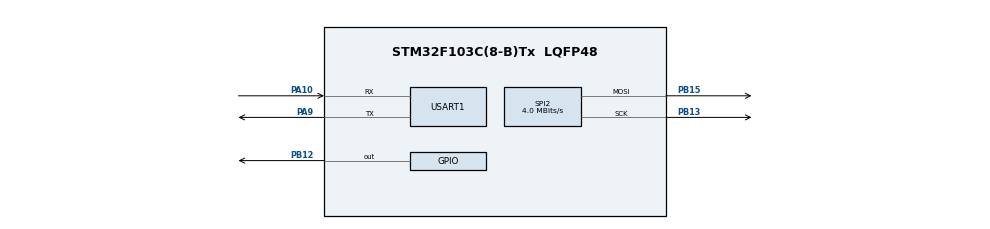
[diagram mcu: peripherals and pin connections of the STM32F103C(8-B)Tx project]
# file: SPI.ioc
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Dma.Request0=USART1_RX
Dma.USART1_RX.0.Direction=DMA_PERIPH_TO_MEMORY
Dma.USART1_RX.0.Instance=DMA1_Channel5
Dma.USART1_RX.0.MemDataAlignment=DMA_MDATAALIGN_BYTE
Dma.USART1_RX.0.MemInc=DMA_MINC_ENABLE
Dma.USART1_RX.0.Mode=DMA_NORMAL
Dma.USART1_RX.0.PeriphDataAlignment=DMA_PDATAALIGN_BYTE
Dma.USART1_RX.0.PeriphInc=DMA_PINC_DISABLE
Dma.USART1_RX.0.Priority=DMA_PRIORITY_LOW
Mcu.Family=STM32F1
Mcu.Name=STM32F103C(8-B)Tx
Mcu.Package=LQFP48
NVIC.DMA1_Channel5_IRQn=true\:0\:0\:false\:false\:true\:false\:true\:true
NVIC.PriorityGroup=NVIC_PRIORITYGROUP_4
NVIC.USART1_IRQn=true\:0\:0\:false\:false\:true\:true\:true\:true
PA10.Mode=Asynchronous
PA10.Signal=USART1_RX
PA9.Mode=Asynchronous
PA9.Signal=USART1_TX
PB12.Signal=GPIO_Output
PB13.Mode=TX_Only_Simplex_Unidirect_Master
PB13.Signal=SPI2_SCK
PB15.Mode=TX_Only_Simplex_Unidirect_Master
PB15.Signal=SPI2_MOSI
ProjectManager.HeapSize=0x200
ProjectManager.StackSize=0x400
ProjectManager.TargetToolchain=MDK-ARM V5.27
RCC.APB1Freq_Value=8000000
RCC.APB2Freq_Value=8000000
SPI2.CalculateBaudRate=4.0 MBits/s
SPI2.Direction=SPI_DIRECTION_2LINES
SPI2.Mode=SPI_MODE_MASTER
SPI2.VirtualType=VM_MASTER
USART1.VirtualMode=VM_ASYNC
VP_SYS_VS_ND.Mode=No_Debug
board=custom

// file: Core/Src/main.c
/* USER CODE BEGIN Header */
/**
  ******************************************************************************
  * @file           : main.c
  * @brief          : Main program body
  ******************************************************************************
  * @attention
  *
  * <h2><center>&copy; Copyright (c) 2025 STMicroelectronics.
  * All rights reserved.</center></h2>
  *
  * This software component is licensed by ST under BSD 3-Clause license,
  * the "License"; You may not use this file except in compliance with the
  * License. You may obtain a copy of the License at:
  *                        opensource.org/licenses/BSD-3-Clause
  *
  ******************************************************************************
  */
/* USER CODE END Header */
#include "main.h"

SPI_HandleTypeDef hspi2;

UART_HandleTypeDef huart1;
DMA_HandleTypeDef hdma_usart1_rx;

void SystemClock_Config(void);
static void MX_GPIO_Init(void);
static void MX_DMA_Init(void);
static void MX_SPI2_Init(void);
static void MX_USART1_UART_Init(void);
/* USER CODE BEGIN PFP */
#include <stdlib.h>
#include <string.h>
#include <stdio.h>
#include <math.h>

uint8_t RX_Data[17], SPI_Buffer[4];
uint8_t UART1_RX_Flag;
uint32_t SPI_Data;

char *Char_RX_Data;

/* USER CODE END PFP */

/* USER CODE BEGIN 0 */
void SPI_Processing ()
{

}

void HAL_UARTEx_RxEventCallback(UART_HandleTypeDef *huart, uint16_t Size)
{
  if (huart->Instance == USART1)
  {
		UART1_RX_Flag = 1;
		RX_Data[Size] = '\0';
  }
}

void UART1_RX_Processing ()
{
	UART1_RX_Flag = 0;
	HAL_UARTEx_ReceiveToIdle_DMA (&huart1, RX_Data, sizeof(RX_Data));

	memcpy(SPI_Buffer, &RX_Data[4], 4);

	SPI_Data = atoi((char *)SPI_Buffer);
}

void MAX7219_Send(uint8_t address, uint8_t data)
{
   uint8_t buffer[2] = {address, data};
   HAL_GPIO_WritePin(GPIOB, GPIO_PIN_12, GPIO_PIN_RESET);
   HAL_SPI_Transmit(&hspi2, buffer, 2, HAL_MAX_DELAY);
   HAL_GPIO_WritePin(GPIOB, GPIO_PIN_12, GPIO_PIN_SET);
}

void MAX7219_Init(void)
{
   MAX7219_Send(0x09, 0xFF);
   MAX7219_Send(0x0A, 0x0A);
   MAX7219_Send(0x0B, 0x07);
   MAX7219_Send(0x0C, 0x01);
   MAX7219_Send(0x0F, 0x00);
}

/* USER CODE END 0 */

int main(void)
{

  /* MCU Configuration--------------------------------------------------------*/

  /* Reset of all peripherals, Initializes the Flash interface and the Systick. */
  HAL_Init();

  /* Configure the system clock */
  SystemClock_Config();

  /* Initialize all configured peripherals */
  MX_GPIO_Init();
  MX_DMA_Init();
  MX_SPI2_Init();
  MX_USART1_UART_Init();
  /* USER CODE BEGIN 2 */
	MAX7219_Init();

	HAL_UARTEx_ReceiveToIdle_DMA (&huart1, RX_Data, sizeof(RX_Data));

  /* USER CODE END 2 */

  /* Infinite loop */
  /* USER CODE BEGIN WHILE */
  while (1)
  {
		if (UART1_RX_Flag == 1)
		{
			UART1_RX_Processing ();
		}

		MAX7219_Send(0x01, (SPI_Data / 1) % 10);
    MAX7219_Send(0x02, (SPI_Data / 10) % 10);
    MAX7219_Send(0x03, (SPI_Data / 100) % 10);
		MAX7219_Send(0x04, (SPI_Data / 1000) % 10);
    MAX7219_Send(0x05, (SPI_Data / 10000) % 10);
    MAX7219_Send(0x06, (SPI_Data / 100000) % 10);
    MAX7219_Send(0x07, (SPI_Data / 1000000) % 10);
		MAX7219_Send(0x08, (SPI_Data / 10000000) % 10);

    /* USER CODE END WHILE */

  }
}

void SystemClock_Config(void)
{
  RCC_OscInitTypeDef RCC_OscInitStruct = {0};
  RCC_ClkInitTypeDef RCC_ClkInitStruct = {0};

  /** Initializes the RCC Oscillators according to the specified parameters
  * in the RCC_OscInitTypeDef structure.
  */
  RCC_OscInitStruct.OscillatorType = RCC_OSCILLATORTYPE_HSI;
  RCC_OscInitStruct.HSIState = RCC_HSI_ON;
  RCC_OscInitStruct.HSICalibrationValue = RCC_HSICALIBRATION_DEFAULT;
  RCC_OscInitStruct.PLL.PLLState = RCC_PLL_NONE;
  if (HAL_RCC_OscConfig(&RCC_OscInitStruct) != HAL_OK)
  {
    Error_Handler();
  }
  /** Initializes the CPU, AHB and APB buses clocks
  */
  RCC_ClkInitStruct.ClockType = RCC_CLOCKTYPE_HCLK|RCC_CLOCKTYPE_SYSCLK
                              |RCC_CLOCKTYPE_PCLK1|RCC_CLOCKTYPE_PCLK2;
  RCC_ClkInitStruct.SYSCLKSource = RCC_SYSCLKSOURCE_HSI;
  RCC_ClkInitStruct.AHBCLKDivider = RCC_SYSCLK_DIV1;
  RCC_ClkInitStruct.APB1CLKDivider = RCC_HCLK_DIV1;
  RCC_ClkInitStruct.APB2CLKDivider = RCC_HCLK_DIV1;

  if (HAL_RCC_ClockConfig(&RCC_ClkInitStruct, FLASH_LATENCY_0) != HAL_OK)
  {
    Error_Handler();
  }
}

static void MX_SPI2_Init(void)
{

  /* SPI2 parameter configuration*/
  hspi2.Instance = SPI2;
  hspi2.Init.Mode = SPI_MODE_MASTER;
  hspi2.Init.Direction = SPI_DIRECTION_2LINES;
  hspi2.Init.DataSize = SPI_DATASIZE_8BIT;
  hspi2.Init.CLKPolarity = SPI_POLARITY_LOW;
  hspi2.Init.CLKPhase = SPI_PHASE_1EDGE;
  hspi2.Init.NSS = SPI_NSS_SOFT;
  hspi2.Init.BaudRatePrescaler = SPI_BAUDRATEPRESCALER_2;
  hspi2.Init.FirstBit = SPI_FIRSTBIT_MSB;
  hspi2.Init.TIMode = SPI_TIMODE_DISABLE;
  hspi2.Init.CRCCalculation = SPI_CRCCALCULATION_DISABLE;
  hspi2.Init.CRCPolynomial = 10;
  if (HAL_SPI_Init(&hspi2) != HAL_OK)
  {
    Error_Handler();
  }

}

static void MX_USART1_UART_Init(void)
{

  huart1.Instance = USART1;
  huart1.Init.BaudRate = 115200;
  huart1.Init.WordLength = UART_WORDLENGTH_8B;
  huart1.Init.StopBits = UART_STOPBITS_1;
  huart1.Init.Parity = UART_PARITY_NONE;
  huart1.Init.Mode = UART_MODE_TX_RX;
  huart1.Init.HwFlowCtl = UART_HWCONTROL_NONE;
  huart1.Init.OverSampling = UART_OVERSAMPLING_16;
  if (HAL_UART_Init(&huart1) != HAL_OK)
  {
    Error_Handler();
  }

}

static void MX_DMA_Init(void)
{

  /* DMA controller clock enable */
  __HAL_RCC_DMA1_CLK_ENABLE();

  /* DMA interrupt init */
  /* DMA1_Channel5_IRQn interrupt configuration */
  HAL_NVIC_SetPriority(DMA1_Channel5_IRQn, 0, 0);
  HAL_NVIC_EnableIRQ(DMA1_Channel5_IRQn);

}

static void MX_GPIO_Init(void)
{
  GPIO_InitTypeDef GPIO_InitStruct = {0};

  /* GPIO Ports Clock Enable */
  __HAL_RCC_GPIOB_CLK_ENABLE();
  __HAL_RCC_GPIOA_CLK_ENABLE();

  /*Configure GPIO pin Output Level */
  HAL_GPIO_WritePin(GPIOB, GPIO_PIN_12, GPIO_PIN_RESET);

  /*Configure GPIO pin : PB12 */
  GPIO_InitStruct.Pin = GPIO_PIN_12;
  GPIO_InitStruct.Mode = GPIO_MODE_OUTPUT_PP;
  GPIO_InitStruct.Pull = GPIO_NOPULL;
  GPIO_InitStruct.Speed = GPIO_SPEED_FREQ_LOW;
  HAL_GPIO_Init(GPIOB, &GPIO_InitStruct);

}

void Error_Handler(void)
{
	__disable_irq();
  while (1)
  {
  }
}

/************************ (C) COPYRIGHT STMicroelectronics *****END OF FILE****/
